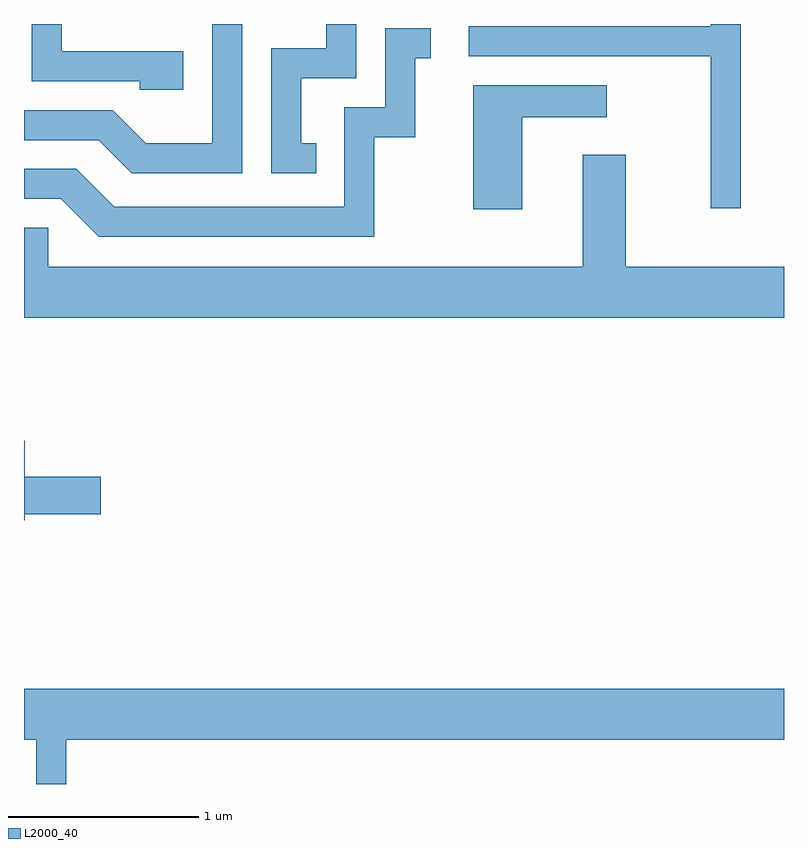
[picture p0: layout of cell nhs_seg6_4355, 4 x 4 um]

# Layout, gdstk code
import gdstk
lib = gdstk.Library(unit=1e-6, precision=1e-09)
def P(c, l, *ps):  # polygons
    for p in ps: c.add(gdstk.Polygon(p, *l))
L2000_40 = (2000, 40)

nhs_seg6_4355 = lib.new_cell('nhs_seg6_4355')
P(nhs_seg6_4355, L2000_40, [(319.148,1637.534),(319.069,1637.534),(319.069,1637.876),(319.359,1637.876),(319.359,1638.162),(319.201,1638.162),(319.201,1638.034),(318.911,1638.034),(318.911,1637.376),(319.148,1637.376)],
  [(321.384,1638.162),(321.226,1638.162),(321.226,1638.149),(319.953,1638.149),(319.953,1637.991),(321.226,1637.991),(321.226,1637.193),(321.384,1637.193)],
  [(318.759,1638.162),(318.601,1638.162),(318.601,1637.534),(318.252,1637.534),(318.077,1637.709),(317.611,1637.709),(317.611,1637.551),(318.004,1637.551),(318.179,1637.376),(318.759,1637.376)],
  [(318.449,1638.019),(317.809,1638.019),(317.809,1638.162),(317.651,1638.162),(317.651,1637.861),(318.221,1637.861),(318.221,1637.816),(318.449,1637.816)],
  [(319.454,1637.566),(319.669,1637.566),(319.669,1637.981),(319.753,1637.981),(319.753,1638.139),(319.511,1638.139),(319.511,1637.724),(319.296,1637.724),(319.296,1637.199),(318.087,1637.199),(317.887,1637.399),(317.611,1637.399),(317.611,1637.241),(317.804,1637.241),(318.004,1637.041),(319.454,1637.041)],
  [(320.234,1637.671),(320.678,1637.671),(320.678,1637.839),(319.976,1637.839),(319.976,1637.186),(320.234,1637.186)],
  [(321.611,1636.884),(320.779,1636.884),(320.779,1637.474),(320.551,1637.474),(320.551,1636.884),(317.739,1636.884),(317.739,1637.089),(317.611,1637.089),(317.611,1636.616),(321.611,1636.616)],
  [(317.614,1635.581),(318.014,1635.581),(318.014,1635.779),(317.614,1635.779),(317.614,1635.969),(317.611,1635.969),(317.611,1635.551),(317.614,1635.551)],
  [(317.834,1634.396),(321.611,1634.396),(321.611,1634.664),(317.611,1634.664),(317.611,1634.396),(317.676,1634.396),(317.676,1634.162),(317.834,1634.162)])

lib.write_gds('nhs_seg6_4355.gds')
